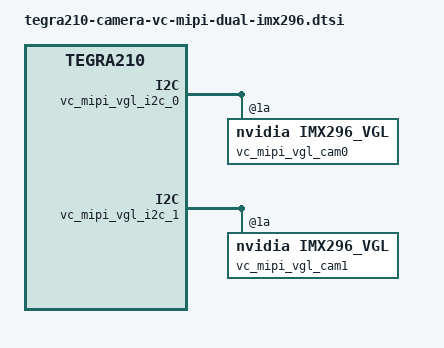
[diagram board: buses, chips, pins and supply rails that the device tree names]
/*
 * Copyright (c) 2018-2019, NVIDIA CORPORATION.  All rights reserved.
 *
 * This program is free software; you can redistribute it and/or modify
 * it under the terms of the GNU General Public License as published by
 * the Free Software Foundation; either version 2 of the License, or
 * (at your option) any later version.
 *
 * This program is distributed in the hope that it will be useful, but WITHOUT
 * ANY WARRANTY; without even the implied warranty of MERCHANTABILITY or
 * FITNESS FOR A PARTICULAR PURPOSE.  See the GNU General Public License for
 * more details.
 *
 * You should have received a copy of the GNU General Public License
 * along with this program.  If not, see <http://www.gnu.org/licenses/>.
 */
 
#define VC_MIPI_LANES 1
 
#include "tegra210-camera-vc-mipi-dual-common.dtsi"

//#define USE_SENSOR_MODE_ID  "false"     /* CCC - use_sensor_mode_id value */
#define USE_SENSOR_MODE_ID  "true"      /* CCC - use_sensor_mode_id value   */
 
//#define EXPOSURE_FACTOR     "1000000"   /* CCC - exposure factor            */
#define EXPOSURE_FACTOR     "1"         /* CCC - exposure factor            */
 
/ {
    host1x {
        vc_mipi_vgl_i2c_0: i2c@546c0000 {
            vc_mipi_vgl_cam0: vc_mipi_vgl_a@1a {
                compatible = "nvidia,imx296_vgl";
                physical_w = "3.680";
                physical_h = "2.760";
                sensor_model = "imx296";
                flash-output = "1";
                use_sensor_mode_id = USE_SENSOR_MODE_ID;  // "false"; "true";
 
                mode0 { // IMX296_MODE_1440X1080, 60 FPS, color
                    mclk_khz = "24000";
                    num_lanes = NUM_LANES;
                    tegra_sinterface = "serial_a";
                    phy_mode = "DPHY";
                    discontinuous_clk = "no"; // "yes";
                    dpcm_enable = "false";
                    cil_settletime = "0";

                    active_w = "1440";
                    active_h = "1080";
                    pixel_t = "bayer_rggb";

                    readout_orientation = "0";
                    line_length = "1568";
                    inherent_gain = "1";
                    mclk_multiplier = "9.33";
                    pix_clk_hz = "482400000";

                    gain_factor = "16";
                    framerate_factor = "1000000";
                    exposure_factor = EXPOSURE_FACTOR;
                    min_gain_val = "0";  
                    max_gain_val = "480"; /* 10.66x */
                    step_gain_val = "1";
                    default_gain = "20";   /* 1.00x */
                    min_hdr_ratio = "1";
                    max_hdr_ratio = "1";
                    min_framerate = "10000000"; /* 10.0 fps */
                    max_framerate = "60000000"; /* 60.0 fps */
                    step_framerate = "1";
                    default_framerate = "30000000"; /* 30.0 fps */
                    min_exp_time = "29";       /* us */
                    max_exp_time = "15110711"; /* us */
                    step_exp_time = "1";
                    default_exp_time = "2000"; /* us */

                    embedded_metadata_height = "0";   // 219: "2"
                };

                mode1 { // IMX296_MODE_1440X1080, 60 FPS, trigger mode
                    mclk_khz = "24000";
                    num_lanes = NUM_LANES;
                    tegra_sinterface = "serial_a";
                    phy_mode = "DPHY";
                    discontinuous_clk = "no"; // "yes";
                    dpcm_enable = "false";
                    cil_settletime = "0";

                    active_w = "1440";
                    active_h = "1080";
                    pixel_t = "bayer_rggb";
                    // pixel_t = "y10";            // V4L2_PIX_FMT_Y10 = 'Y10 '

                    readout_orientation = "0";
                    line_length = "1568";
                    inherent_gain = "1";
                    mclk_multiplier = "9.33";
                    pix_clk_hz = "482400000";

                    gain_factor = "16";
                    framerate_factor = "1000000";
                    exposure_factor = EXPOSURE_FACTOR;
                    min_gain_val = "0";   /* 1.00x */
                    max_gain_val = "480"; /* 10.66x */
                    step_gain_val = "1";
                    default_gain = "20";   /* 1.00x */
                    min_hdr_ratio = "1";
                    max_hdr_ratio = "1";
                    min_framerate = "10000000"; /* 10.0 fps */
                    max_framerate = "60000000"; /* 60.0 fps */
                    step_framerate = "1";
                    default_framerate = "30000000"; /* 30.0 fps */
                    min_exp_time = "29";       /* us */
                    max_exp_time = "15110711"; /* us */
                    step_exp_time = "1";
                    default_exp_time = "2000"; /* us */

                    embedded_metadata_height = "0";   // 219: "2"
                };

                mode2 { // IMX296_MODE_1440X1080, 60 FPS, grayscale
                    mclk_khz = "24000";
                    num_lanes = NUM_LANES;
                    tegra_sinterface = "serial_a";
                    phy_mode = "DPHY";
                    discontinuous_clk = "no"; // "yes";
                    dpcm_enable = "false";
                    cil_settletime = "0";

                    active_w = "1440";
                    active_h = "1080";
                    // pixel_t = "bayer_rggb";
                    pixel_t = "y10";            // V4L2_PIX_FMT_Y10 = 'Y10 '

                    readout_orientation = "0";
                    line_length = "1568";
                    inherent_gain = "1";
                    mclk_multiplier = "9.33";
                    pix_clk_hz = "482400000";

                    gain_factor = "16";
                    framerate_factor = "1000000";
                    exposure_factor = EXPOSURE_FACTOR;
                    min_gain_val = "0";   /* 1.00x */
                    max_gain_val = "480"; /* 10.66x */
                    step_gain_val = "1";
                    default_gain = "20";   /* 1.00x */
                    min_hdr_ratio = "1";
                    max_hdr_ratio = "1";
                    min_framerate = "10000000"; /* 10.0 fps */
                    max_framerate = "60000000"; /* 60.0 fps */
                    step_framerate = "1";
                    default_framerate = "30000000"; /* 30.0 fps */
                    min_exp_time = "29";       /* us */
                    max_exp_time = "15110711"; /* us */
                    step_exp_time = "1";
                    default_exp_time = "2000"; /* us */

                    embedded_metadata_height = "0";   // 219: "2"
                };
            };
        };

        vc_mipi_vgl_i2c_1: i2c@7000c000 {
            vc_mipi_vgl_cam1: vc_mipi_vgl_c@1a {
                compatible = "nvidia,imx296_vgl";
                devnode = "video1";
                physical_w = "3.680";
                physical_h = "2.760";
                sensor_model = "imx296";
                flash-output = "0";
                use_sensor_mode_id = USE_SENSOR_MODE_ID;
 
                mode0 { // IMX296_MODE_1440X1080, 60 FPS, color
                    mclk_khz = "24000";
                    num_lanes = NUM_LANES;
                    tegra_sinterface = "serial_c";
                    phy_mode = "DPHY";
                    discontinuous_clk = "no"; // "yes";
                    dpcm_enable = "false";
                    cil_settletime = "0";

                    active_w = "1440";
                    active_h = "1080";
                    pixel_t = "bayer_rggb";

                    readout_orientation = "0";
                    line_length = "1568";
                    inherent_gain = "1";
                    mclk_multiplier = "9.33";
                    pix_clk_hz = "482400000";

                    gain_factor = "16";
                    framerate_factor = "1000000";
                    exposure_factor = EXPOSURE_FACTOR;
                    min_gain_val = "0";   /* 1.00x */
                    max_gain_val = "480"; /* 10.66x */
                    step_gain_val = "1";
                    default_gain = "20";   /* 1.00x */
                    min_hdr_ratio = "1";
                    max_hdr_ratio = "1";
                    min_framerate = "10000000"; /* 10.0 fps */
                    max_framerate = "60000000"; /* 60.0 fps */
                    step_framerate = "1";
                    default_framerate = "30000000"; /* 30.0 fps */
                    min_exp_time = "29";       /* us */
                    max_exp_time = "15110711"; /* us */
                    step_exp_time = "1";
                    default_exp_time = "2000"; /* us */

                    embedded_metadata_height = "0";   // 219: "2"
                };

                mode1 { // IMX296_MODE_1440X1080, 60 FPS, trigger mode
                    mclk_khz = "24000";
                    num_lanes = NUM_LANES;
                    tegra_sinterface = "serial_c";
                    phy_mode = "DPHY";
                    discontinuous_clk = "no"; // "yes";
                    dpcm_enable = "false";
                    cil_settletime = "0";

                    active_w = "1440";
                    active_h = "1080";
                    pixel_t = "bayer_rggb";
                    // pixel_t = "y10";            // V4L2_PIX_FMT_Y10 = 'Y10 '

                    readout_orientation = "0";
                    line_length = "1568";
                    inherent_gain = "1";
                    mclk_multiplier = "9.33";
                    pix_clk_hz = "482400000";

                    gain_factor = "16";
                    framerate_factor = "1000000";
                    exposure_factor = EXPOSURE_FACTOR;
                    min_gain_val = "0";   /* 1.00x */
                    max_gain_val = "480"; /* 10.66x */
                    step_gain_val = "1";
                    default_gain = "20";   /* 1.00x */
                    min_hdr_ratio = "1";
                    max_hdr_ratio = "1";
                    min_framerate = "10000000"; /* 10.0 fps */
                    max_framerate = "60000000"; /* 60.0 fps */
                    step_framerate = "1";
                    default_framerate = "30000000"; /* 30.0 fps */
                    min_exp_time = "29";       /* us */
                    max_exp_time = "15110711"; /* us */
                    step_exp_time = "1";
                    default_exp_time = "2000"; /* us */

                    embedded_metadata_height = "0";   // 219: "2"
                };
 
                mode2 { // IMX296_MODE_1440X1080, 60 FPS, trigger mode
                    mclk_khz = "24000";
                    num_lanes = NUM_LANES;
                    tegra_sinterface = "serial_c";
                    phy_mode = "DPHY";
                    discontinuous_clk = "no"; // "yes";
                    dpcm_enable = "false";
                    cil_settletime = "0";

                    active_w = "1440";
                    active_h = "1080";
                    // pixel_t = "bayer_rggb";
                    pixel_t = "y10";            // V4L2_PIX_FMT_Y10 = 'Y10 '

                    readout_orientation = "0";
                    line_length = "1568";
                    inherent_gain = "1";
                    mclk_multiplier = "9.33";
                    pix_clk_hz = "482400000";

                    gain_factor = "16";
                    framerate_factor = "1000000";
                    exposure_factor = EXPOSURE_FACTOR;
                    min_gain_val = "0";   /* 1.00x */
                    max_gain_val = "480"; /* 10.66x */
                    step_gain_val = "1";
                    default_gain = "20";   /* 1.00x */
                    min_hdr_ratio = "1";
                    max_hdr_ratio = "1";
                    min_framerate = "10000000"; /* 10.0 fps */
                    max_framerate = "60000000"; /* 60.0 fps */
                    step_framerate = "1";
                    default_framerate = "30000000"; /* 30.0 fps */
                    min_exp_time = "29";       /* us */
                    max_exp_time = "15110711"; /* us */
                    step_exp_time = "1";
                    default_exp_time = "2000"; /* us */

                    embedded_metadata_height = "0";   // 219: "2"
                };
            };
        };
    };
};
